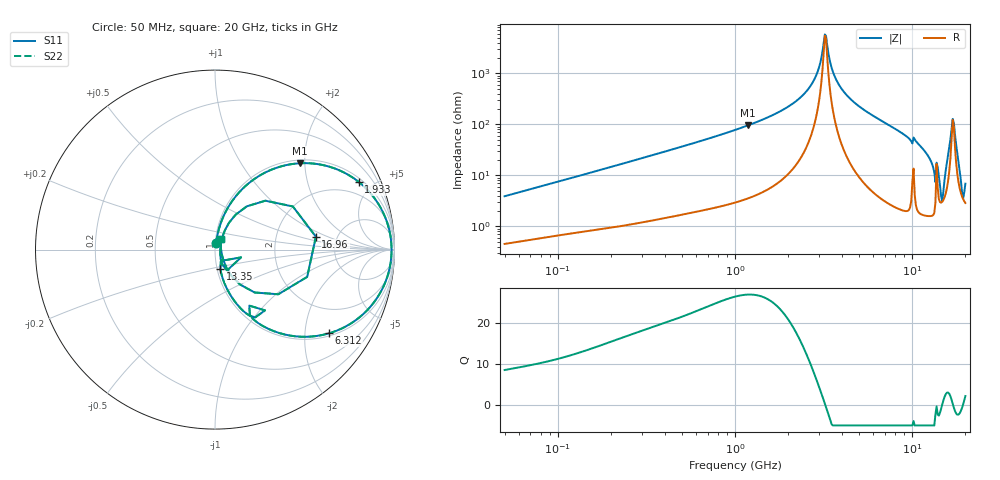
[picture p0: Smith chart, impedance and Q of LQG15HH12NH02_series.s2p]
!Murata Part Number: LQG15HH12NH02
!These Parameters are Measured in Series Mode Connection
!  o--[Z]--o
!Port1  Port2
!  o-------o
!Freq. Start=50[MHz] Stop=20[GHz], 401[Steps]
# Hz S RI R 50
!Freq.(Hz) S11(Real) S11(Imag) S21(Real) S21(Imag) S12(Real) S12(Imag) S22(Real) S22(Imag)
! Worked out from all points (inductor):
!   401 points, 50 MHz to 20 GHz, reference 50 ohm
!   read as one part in series: L = 12.2 nH near 51.52 MHz
!   highest Q = 27 at 1.179 GHz (marker M1), where L = 12.8 nH
!   self-resonance near 3.217 GHz
!   S11 on the Smith chart (normalised r, x): 50 MHz: 1.01, +0.08; 1.933 GHz: 1.19, +4.13; 6.312 GHz: 1.08, -2.66; 13.35 GHz: 1.04, -0.23; 16.96 GHz: 3.45, +0.73; 20 GHz: 1.06, +0.12
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5e7  0.00599 0.0383  0.994 -0.0383  0.994 -0.0383  0.00599 0.0383
1.364002e8  0.0176 0.0983  0.9824 -0.0983  0.9824 -0.0983  0.0176 0.0983
3.721004e8  0.079 0.2455  0.921 -0.2455  0.921 -0.2455  0.079 0.2455
1e9  0.379 0.4666  0.621 -0.4666  0.621 -0.4666  0.379 0.4666
1.179116e9  0.4744 0.4811  0.5256 -0.4811  0.5256 -0.4811  0.4744 0.4811
1.932977e9  0.7998 0.3778  0.2002 -0.3778  0.2002 -0.3778  0.7998 0.3778
2.728004e9  0.9602 0.1474  0.0398 -0.1474  0.0398 -0.1474  0.9602 0.1474
2.98453e9  0.9783 0.0713  0.0217 -0.0713  0.0217 -0.0713  0.9783 0.0713
3.168813e9  0.9834 0.0186  0.0166 -0.0186  0.0166 -0.0186  0.9834 0.0186
3.265178e9  0.9837 -0.0081  0.0163 0.0081  0.0163 0.0081  0.9837 -0.0081
3.572216e9  0.9759 -0.0885  0.0241 0.0885  0.0241 0.0885  0.9759 -0.0885
3.967106e9  0.9495 -0.1804  0.0505 0.1804  0.0505 0.1804  0.9495 -0.1804
6.311513e9  0.6358 -0.4663  0.3642 0.4663  0.3642 0.4663  0.6358 -0.4663
7.442007e9  0.4765 -0.4854  0.5235 0.4854  0.5235 0.4854  0.4765 -0.4854
1.066139e10  0.1739 -0.3555  0.8261 0.3555  0.8261 0.3555  0.1739 -0.3555
1.334722e10  0.0301 -0.108  0.9699 0.108  0.9699 0.108  0.0301 -0.108
1.482269e10  0.0296 0.00667  0.9704 -0.00667  0.9704 -0.00667  0.0296 0.00667
1.621653e10  0.177 0.2409  0.823 -0.2409  0.823 -0.2409  0.177 0.2409
1.696185e10  0.5621 0.072  0.4379 -0.072  0.4379 -0.072  0.5621 0.072
1.774144e10  0.2208 -0.239  0.7792 0.239  0.7792 0.239  0.2208 -0.239
1.912117e10  0.0384 -0.0279  0.9616 0.0279  0.9616 0.0279  0.0384 -0.0279
2e10  0.0315 0.0588  0.9685 -0.0588  0.9685 -0.0588  0.0315 0.0588
